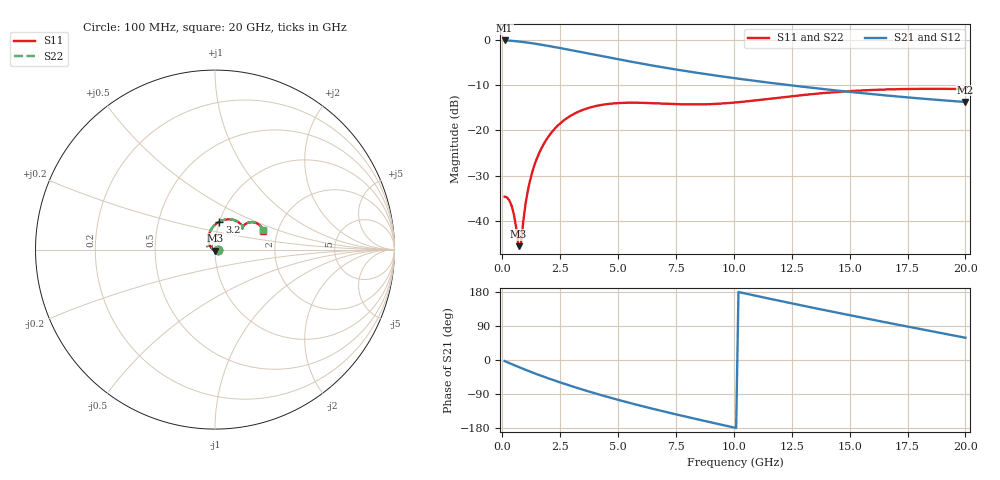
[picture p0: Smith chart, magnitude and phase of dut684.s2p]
! Touchstone file exported from HFSS 2024.1.0
!  File:  C:/UserFiles/LocalFiles/RDL_TSV_Batchsim/temp_RDL_TSV_684_1779817910.aedt
!  Generated:  02:06:01 AM May 27, 2026
!  Design:  RDL_TSV
!  Project:  temp_RDL_TSV_684_1779817910
!  Setup:  Setup1
!  Solution:  Sweep
! Variables:
!  dtsv = 14.79um
!  hbump = 3um
!  htsv = 87um
!  ldown = 689.73um
!  lrdl = 560.85um
!  p = 40
!  p1 = 48.77um
!  rhole = 10um
!  subl = 4312.59um
!  t = 450um
!  tdown = 4.19um
!  trdl = 4.87um
!  viad = 10um
!  wdown = 14.47um
!  wrdl = 25.62um
!  xbump = 18um
# GHz S MA R 50.000000
! Terminal data exported
! Port[1] = TM1_1_T1
! Port[2] = TM1_4_T1
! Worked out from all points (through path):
!   200 points, 100 MHz to 20 GHz, reference 50 ohm
!   highest |S21| = -0.17 dB at 100 MHz (marker M1); lowest = -13.8 dB at 20 GHz (marker M2)
!   group delay of S21, straight-line fit = 39.6 ps
!   lowest |S11| = -45.6 dB at 700 MHz (marker M3), VSWR 1.01, Z = 50.1 - j0.521 ohm
!   |S11| at or under -10 dB: start of sweep to end of sweep
!   |S22| runs from -45.6 to -10.8 dB; largest |S21 - S12| = 8.6e-15
!   S11 on the Smith chart (normalised r, x): 100 MHz: 1.04, -0.00; 3.2 GHz: 1.00, +0.32; 20 GHz: 1.67, +0.38
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0.1  0.01853 -3.1  0.9805 -2.7  0.9805 -2.7  0.01853 -3.1
! Gamma 0 0 0 0
! Port Impedance 50 0 50 0
0.3  0.01693 -14.6  0.975 -8.0  0.975 -8.0  0.01692 -14.6
0.4  0.01477 -22.6  0.9712 -10.7  0.9712 -10.7  0.01475 -22.6
0.5  0.01184 -32.7  0.9668 -13.2  0.9668 -13.2  0.01182 -32.7
0.6  0.008405 -48.3  0.9617 -15.8  0.9617 -15.8  0.008373 -48.4
0.7  0.00526 -81.9  0.9561 -18.3  0.9561 -18.3  0.005236 -82.4
0.8  0.005392 -144.3  0.9498 -20.9  0.9498 -20.9  0.005427 -144.9
0.9  0.009573 -179.5  0.9431 -23.3  0.9431 -23.3  0.009649 -179.8
1  0.01518 164.9  0.936 -25.8  0.936 -25.8  0.01528 164.8
1.2  0.02805 148.3  0.9206 -30.6  0.9206 -30.6  0.02819 148.3
1.6  0.05662 128.5  0.8872 -39.8  0.8872 -39.8  0.05686 128.6
1.9  0.07854 117.2  0.861 -46.5  0.861 -46.5  0.07885 117.2
2.3  0.1063 104.3  0.8256 -55.0  0.8256 -55.0  0.1068 104.4
3.2  0.1566 81.4  0.7474 -73.0  0.7474 -73.0  0.1572 81.4
3.5  0.1688 75.1  0.7223 -78.7  0.7223 -78.7  0.1695 75.2
5.1  0.2002 51.1  0.6018 -106.7  0.6018 -106.7  0.2012 51.2
6.8  0.1977 39.2  0.5021 -133.2  0.5021 -133.2  0.1989 39.4
8.3  0.1929 37.4  0.4353 -154.8  0.4353 -154.8  0.1942 37.5
10.1  0.2031 39.5  0.3739 -179.3  0.3739 -179.3  0.2044 39.5
13.4  0.251 37.4  0.294 138.1  0.294 138.1  0.2522 37.4
16.7  0.2827 29.0  0.2407 97.7  0.2407 97.7  0.2839 29.0
20  0.2853 21.8  0.2052 58.8  0.2052 58.8  0.2865 21.9
